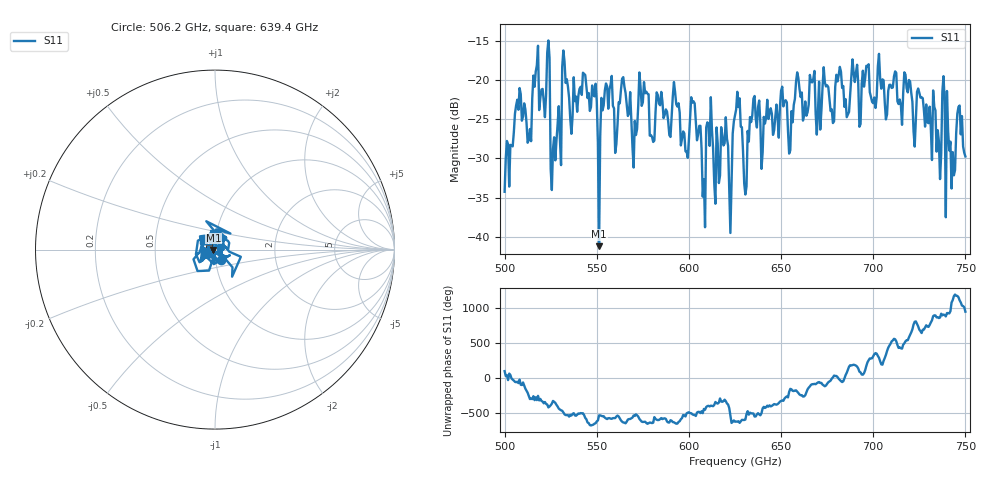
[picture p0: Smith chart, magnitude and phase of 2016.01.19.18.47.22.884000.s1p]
!Created with skrf (http://scikit-rf.org).
# GHz S RI R 50.0
!freq ReS11 ImS11
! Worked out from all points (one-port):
!   401 points, 500 GHz to 750 GHz, reference 50 ohm
!   lowest |S11| = -41.2 dB at 551.2 GHz (marker M1), VSWR 1.02, Z = 49.1 - j0.131 ohm
!   |S11| at or under -10 dB: start of sweep to end of sweep
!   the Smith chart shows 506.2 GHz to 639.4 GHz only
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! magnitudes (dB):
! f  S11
! 500 GHz  -34.2
! 507.5 GHz  -23.8
! 513.1 GHz  -27.6
! 516.9 GHz  -18.9
! 523.1 GHz  -16.5
! 526.2 GHz  -28.8
! 531.2 GHz  -18.3
! 548.8 GHz  -22.1
! 551.2 GHz  -41.2
! 553.8 GHz  -23.2
! 562.5 GHz  -23.0
! 570.6 GHz  -25.2
! 574.4 GHz  -23.3
! 580 GHz  -27.3
! 593.8 GHz  -23.4
! 598.8 GHz  -29.1
! 602.5 GHz  -22.7
! 608.1 GHz  -32.6
! 610.6 GHz  -25.7
! 622.5 GHz  -39.5
! 625 GHz  -24.5
! 630.6 GHz  -34.6
! 634.4 GHz  -24.5
! 656.2 GHz  -25.4
! 658.8 GHz  -19.0
! 687.5 GHz  -21.7
! 718.8 GHz  -21.6
! 750 GHz  -29.7
